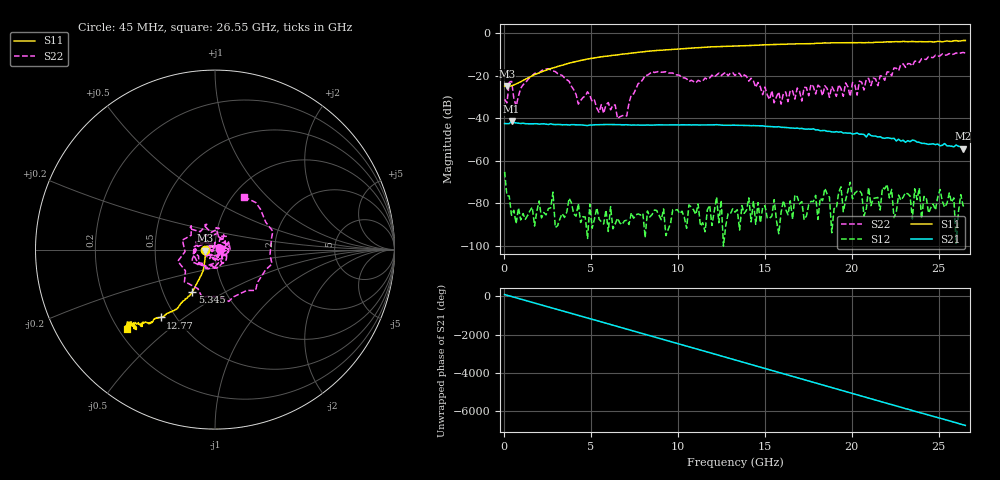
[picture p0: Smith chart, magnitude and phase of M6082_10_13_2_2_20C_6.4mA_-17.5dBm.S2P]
!  2-Port S-parameters saved by WinCal
! VAR MeasName=S-Parameters (CALIBRATED_DATA) read from VNA (C)
! VAR MeasDate=10/16/2015 2:37:07 PM
! VAR NAME=M6082_10_13_2_2_20C_6.4mA_-17.5dBm
! VAR FILENAME=M6082_10_13_2_2_20C_6.4mA_-17.5dBm.S2P
! VAR DATE=10/16/2015 2:37:07 PM
! VAR PHYS_PORTS=2,1
! VAR ObjTypeName=DATASET
! VAR IndexType=Frequency
# Hz S RI R 50
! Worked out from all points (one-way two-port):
!   201 points, 45 MHz to 26.55 GHz, reference 50 ohm
!   highest |S21| = -41.47 dB at 442.5 MHz (marker M1); lowest = -54.3 dB at 26.41 GHz (marker M2)
!   lowest |S11| = -25.1 dB at 177.5 MHz (marker M3), VSWR 1.12, Z = 44.7 - j0.557 ohm
!   |S11| at or under -10 dB: start of sweep to 6.786 GHz
!   |S22| runs from -40.2 to -9.2 dB; largest |S21 - S12| = 0.0085
!   S11 on the Smith chart (normalised r, x): 45 MHz: 0.89, -0.00; 5.345 GHz: 0.70, -0.35; 12.77 GHz: 0.42, -0.41; 26.55 GHz: 0.23, -0.37
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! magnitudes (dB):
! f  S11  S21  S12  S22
! 45 MHz  -25.0  -42.5  -65.2  -31.1
! 177.5 MHz  -25.1  -42.6  -76.3  -32.8
! 442.5 MHz  -24.8  -41.5  -85.5  -22.4
! 707.5 MHz  -24.0  -42.2  -89.4  -34.5
! 2.43 GHz  -17.5  -42.8  -85.4  -17.0
! 4.55 GHz  -12.7  -43.2  -86.2  -30.3
! 5.345 GHz  -11.5  -43.1  -82.1  -35.3
! 7.067 GHz  -9.8  -43.1  -87.9  -39.0
! 7.73 GHz  -9.1  -43.2  -84.9  -23.7
! 8.922 GHz  -8.2  -43.1  -85.5  -18.0
! 12.77 GHz  -6.3  -43.3  -90.3  -18.5
! 13.29 GHz  -6.2  -43.3  -84.0  -20.0
! 15.95 GHz  -5.4  -44.3  -84.3  -33.4
! 17.8 GHz  -5.0  -45.0  -79.1  -25.1
! 19.12 GHz  -4.7  -46.3  -82.4  -29.8
! 19.39 GHz  -4.6  -46.4  -72.2  -26.2
! 19.52 GHz  -4.6  -47.0  -83.9  -29.8
! 19.92 GHz  -4.6  -47.0  -70.0  -29.8
! 20.05 GHz  -4.5  -47.4  -77.8  -23.3
! 22.17 GHz  -4.2  -49.3  -77.4  -18.4
! 26.41 GHz  -3.6  -54.3  -81.1  -9.2
! 26.55 GHz  -3.6  -54.2  -81.0  -9.5
